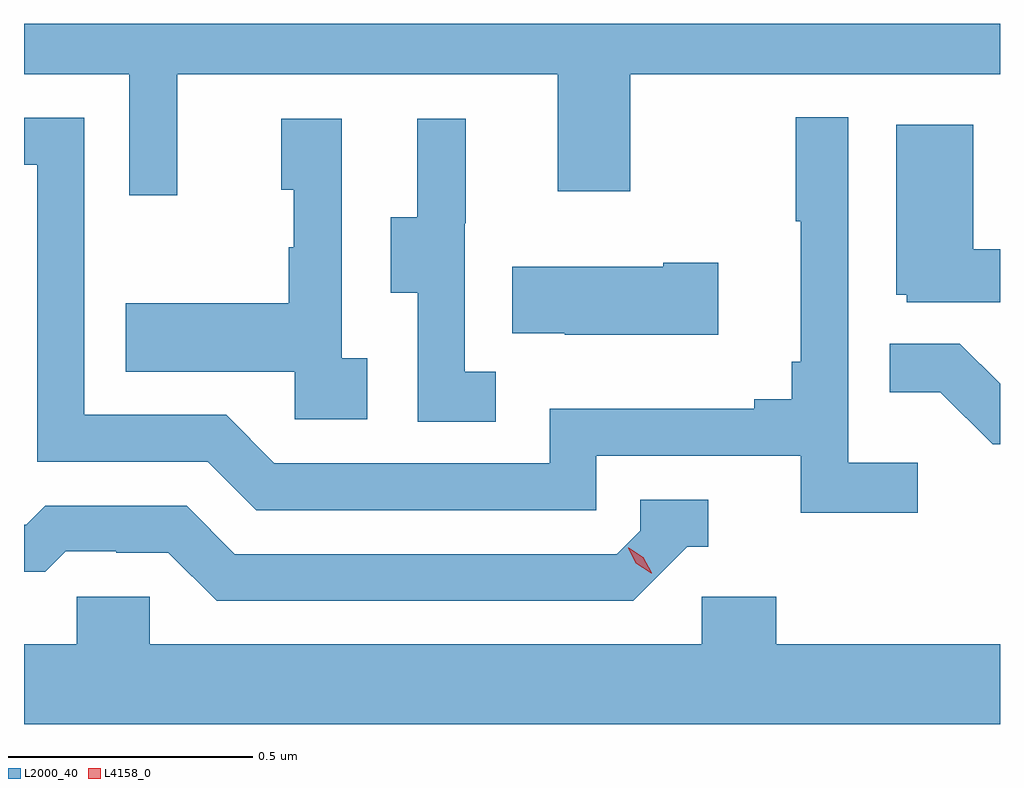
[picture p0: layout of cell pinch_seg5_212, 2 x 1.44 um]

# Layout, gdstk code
import gdstk
lib = gdstk.Library(unit=1e-6, precision=1e-09)
def P(c, l, *ps):  # polygons
    for p in ps: c.add(gdstk.Polygon(p, *l))
L2000_40 = (2000, 40)
L4158_0 = (4158, 0)

pinch_seg5_212 = lib.new_cell('pinch_seg5_212')
P(pinch_seg5_212, L2000_40, [(987.713,902.048),(988.493,902.048),(988.493,901.809),(988.641,901.809),(988.641,902.048),(989.399,902.048),(989.399,902.152),(987.399,902.152),(987.399,902.048),(987.615,902.048),(987.615,901.8),(987.713,901.8)],
  [(989.23,901.252),(989.088,901.252),(989.088,901.96),(988.98,901.96),(988.98,901.747),(988.991,901.747),(988.991,901.459),(988.972,901.459),(988.972,901.382),(988.895,901.382),(988.895,901.363),(988.476,901.363),(988.476,901.251),(987.912,901.251),(987.813,901.35),(987.522,901.35),(987.522,901.959),(987.399,901.959),(987.399,901.863),(987.426,901.863),(987.426,901.254),(987.776,901.254),(987.875,901.155),(988.572,901.155),(988.572,901.266),(988.991,901.266),(988.991,901.15),(989.23,901.15)],
  [(988.102,901.466),(988.05,901.466),(988.05,901.957),(987.926,901.957),(987.926,901.812),(987.952,901.812),(987.952,901.694),(987.942,901.694),(987.942,901.579),(987.607,901.579),(987.607,901.439),(987.954,901.439),(987.954,901.341),(988.102,901.341)],
  [(988.366,901.439),(988.302,901.439),(988.302,901.743),(988.304,901.743),(988.304,901.957),(988.205,901.957),(988.205,901.755),(988.151,901.755),(988.151,901.6),(988.206,901.6),(988.206,901.336),(988.366,901.336)],
  [(989.399,901.69),(989.344,901.69),(989.344,901.945),(989.186,901.945),(989.186,901.596),(989.208,901.596),(989.208,901.581),(989.399,901.581)],
  [(988.822,901.662),(988.709,901.662),(988.709,901.654),(988.399,901.654),(988.399,901.517),(988.507,901.517),(988.507,901.514),(988.822,901.514)],
  [(989.399,901.414),(989.317,901.496),(989.173,901.496),(989.173,901.397),(989.277,901.397),(989.384,901.29),(989.399,901.29)],
  [(988.758,901.08),(988.801,901.08),(988.801,901.176),(988.662,901.176),(988.662,901.113),(988.614,901.065),(987.831,901.065),(987.732,901.164),(987.443,901.164),(987.404,901.125),(987.399,901.125),(987.399,901.029),(987.443,901.029),(987.485,901.071),(987.588,901.071),(987.588,901.068),(987.695,901.068),(987.794,900.969),(988.647,900.969)],
  [(989.399,900.88),(988.94,900.88),(988.94,900.978),(988.788,900.978),(988.788,900.88),(987.657,900.88),(987.657,900.978),(987.507,900.978),(987.507,900.88),(987.399,900.88),(987.399,900.716),(989.399,900.716)])
P(pinch_seg5_212, L4158_0, [(988.684,901.026),(988.653,901.046),(988.637,901.078),(988.637,901.078),(988.638,901.078),(988.668,901.059),(988.685,901.027),(988.685,901.026)])

lib.write_gds('pinch_seg5_212.gds')
